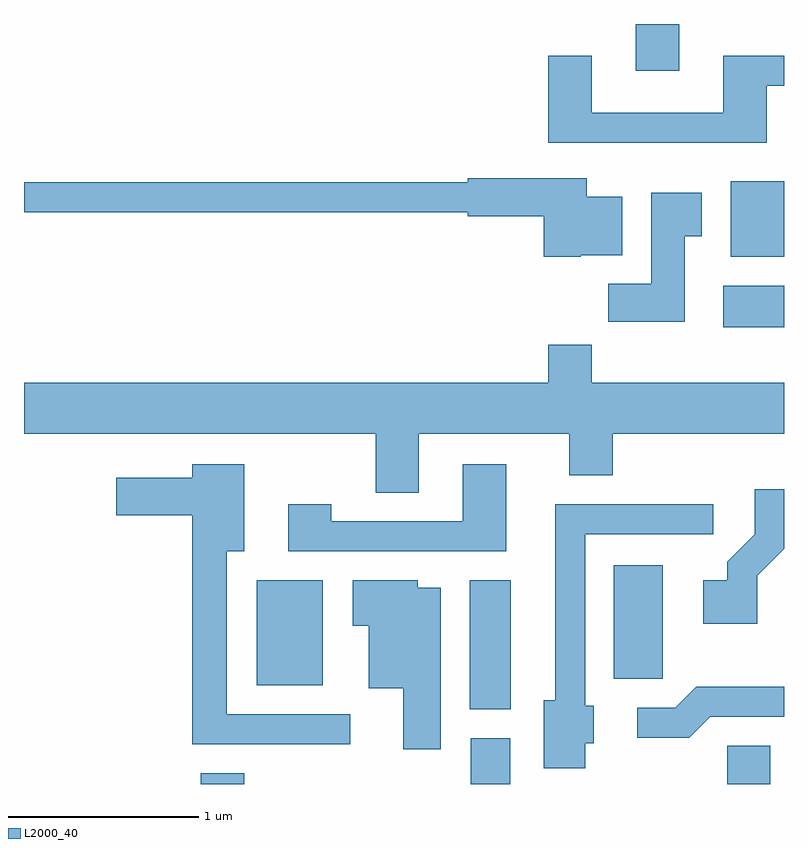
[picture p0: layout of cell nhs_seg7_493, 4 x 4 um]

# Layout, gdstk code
import gdstk
lib = gdstk.Library(unit=1e-6, precision=1e-09)
def R(c, l, rs):  # rectangles x0, y0, x1, y1
    for r in rs: c.add(gdstk.rectangle(r[:2], r[2:], *l))
def P(c, l, *ps):  # polygons
    for p in ps: c.add(gdstk.Polygon(p, *l))
L2000_40 = (2000, 40)

nhs_seg7_493 = lib.new_cell('nhs_seg7_493')
R(nhs_seg7_493, L2000_40, [(200.541,1710.252,200.769,1710.309), (201.961,1710.252,202.169,1710.494), (203.311,1710.252,203.539,1710.454), (201.956,1710.646,202.174,1711.324), (200.836,1710.771,201.184,1711.324), (202.716,1710.806,202.974,1711.404), (203.291,1712.656,203.611,1712.874), (203.331,1713.026,203.611,1713.424), (202.831,1714.006,203.059,1714.252)])
P(nhs_seg7_493, L2000_40, [(203.519,1713.926),(203.611,1713.926),(203.611,1714.084),(203.291,1714.084),(203.291,1713.784),(202.599,1713.784),(202.599,1714.084),(202.371,1714.084),(202.371,1713.626),(203.519,1713.626)],
  [(202.54,1713.036),(202.759,1713.036),(202.759,1713.344),(202.574,1713.344),(202.574,1713.439),(201.946,1713.439),(201.946,1713.419),(199.611,1713.419),(199.611,1713.261),(201.946,1713.261),(201.946,1713.241),(202.346,1713.241),(202.346,1713.026),(202.54,1713.026)],
  [(203.089,1713.136),(203.179,1713.136),(203.179,1713.364),(202.911,1713.364),(202.911,1712.884),(202.686,1712.884),(202.686,1712.686),(203.089,1712.686)],
  [(201.689,1712.096),(202.481,1712.096),(202.481,1711.876),(202.709,1711.876),(202.709,1712.096),(203.611,1712.096),(203.611,1712.364),(202.599,1712.364),(202.599,1712.564),(202.371,1712.564),(202.371,1712.364),(199.611,1712.364),(199.611,1712.096),(201.461,1712.096),(201.461,1711.786),(201.689,1711.786)],
  [(201.328,1710.619),(200.679,1710.619),(200.679,1711.476),(200.769,1711.476),(200.769,1711.934),(200.496,1711.934),(200.496,1711.864),(200.096,1711.864),(200.096,1711.666),(200.496,1711.666),(200.496,1710.461),(201.328,1710.461)],
  [(202.149,1711.934),(201.921,1711.934),(201.921,1711.634),(201.229,1711.634),(201.229,1711.724),(201.001,1711.724),(201.001,1711.476),(202.149,1711.476)],
  [(203.469,1711.349),(203.611,1711.491),(203.611,1711.804),(203.456,1711.804),(203.456,1711.567),(203.311,1711.422),(203.311,1711.324),(203.186,1711.324),(203.186,1711.096),(203.469,1711.096)],
  [(202.564,1710.466),(202.609,1710.466),(202.609,1710.664),(202.564,1710.664),(202.564,1711.566),(203.238,1711.566),(203.238,1711.724),(202.406,1711.724),(202.406,1710.694),(202.346,1710.694),(202.346,1710.336),(202.564,1710.336)],
  [(201.804,1711.284),(201.684,1711.284),(201.684,1711.324),(201.341,1711.324),(201.341,1711.086),(201.426,1711.086),(201.426,1710.756),(201.606,1710.756),(201.606,1710.436),(201.804,1710.436)],
  [(203.222,1710.606),(203.611,1710.606),(203.611,1710.764),(203.149,1710.764),(203.039,1710.654),(202.838,1710.654),(202.838,1710.496),(203.112,1710.496)])

lib.write_gds('nhs_seg7_493.gds')
